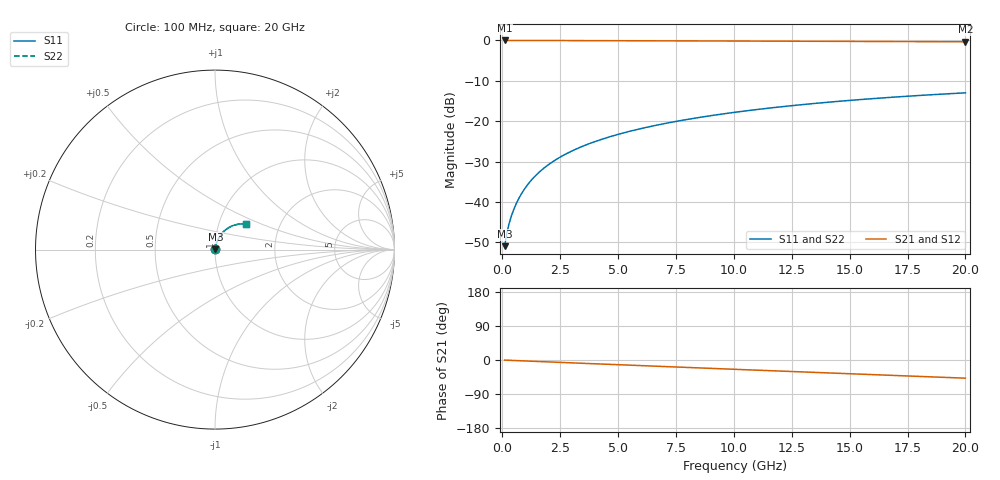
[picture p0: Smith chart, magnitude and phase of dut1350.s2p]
! Touchstone file exported from HFSS 2026.1.0
!  File:  C:/ffzhzh/LocalFiles/Ansys_Project_Files/temp_train_TMRDL_1350_1783165507_18472.aedt
!  Generated:  07:46:23 PM Jul  4, 2026
!  Design:  TMRDL
!  Project:  temp_train_TMRDL_1350_1783165507_18472
! Variables:
!  h_bsmrdl = 2um
!  h_ox = 20um
!  h_rdl = 5um
!  h_sub = 80um
!  h_tmrdl = 5.27um
!  h_tsv = 80um
!  h_via = 3um
!  l_bsmrdl = 300um
!  l_sub = 1212.63um
!  l_tmrdl = 812.63um
!  m_sub = 200um
!  pitch = 43.34um
!  r_tsv = 6um
!  s_tmrdl = 10um
!  w_bsmrdl = 18um
!  w_sub = 500um
!  w_tmrdl = 29.28um
!  x_tsv_center1 = 827.27um
!  x_tsv_center2 = 1145.27um
!  x_tsv_center3 = 1987.18um
!  x_tsv_center4 = 2305.18um
!  x_tsv_center5 = 3147.09um
!  x_tsv_center6 = 3465.09um
# GHz S MA R 50.000000
! Terminal data exported
! Port[1] = TM_RDL1_1_T1
! Port[2] = TM_RDL1_1_T2
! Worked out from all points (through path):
!   200 points, 100 MHz to 20 GHz, reference 50 ohm
!   highest |S21| = -0.02 dB at 100 MHz (marker M1); lowest = -0.3 dB at 20 GHz (marker M2)
!   group delay of S21, straight-line fit = 6.64 ps
!   lowest |S11| = -50.9 dB at 100 MHz (marker M3), VSWR 1.01, Z = 50.2 + j0.183 ohm
!   |S11| at or under -10 dB: start of sweep to end of sweep
!   |S22| runs from -50.9 to -13.0 dB; largest |S21 - S12| = 2e-14
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0.1  0.002842 39.9  0.9978 -0.3  0.9978 -0.3  0.002842 39.9
! Gamma 0 0 0 0
! Port Impedance 50 0 50 0
0.2  0.004188 53.5  0.9975 -0.5  0.9975 -0.5  0.004188 53.5
0.3  0.0055 60.4  0.9973 -0.8  0.9973 -0.8  0.0055 60.4
0.4  0.006811 64.9  0.9972 -1.0  0.9972 -1.0  0.006811 64.9
0.5  0.008144 68.1  0.9971 -1.3  0.9971 -1.3  0.008145 68.1
0.6  0.009501 70.5  0.9971 -1.5  0.9971 -1.5  0.009501 70.5
0.8  0.01226 73.5  0.9969 -2.0  0.9969 -2.0  0.01226 73.5
1.1  0.01647 75.8  0.9966 -2.8  0.9966 -2.8  0.01647 75.8
1.3  0.01929 76.6  0.9965 -3.3  0.9965 -3.3  0.01929 76.5
1.6  0.0235 77.0  0.9961 -4.1  0.9961 -4.1  0.0235 77.0
2.1  0.03047 77.0  0.9955 -5.3  0.9955 -5.3  0.03047 77.0
2.7  0.03868 76.2  0.9946 -6.8  0.9946 -6.8  0.03868 76.2
3.5  0.04936 74.8  0.9933 -8.8  0.9933 -8.8  0.04936 74.8
4.2  0.05849 73.5  0.9921 -10.5  0.9921 -10.5  0.05849 73.4
5  0.06869 71.8  0.9908 -12.4  0.9908 -12.4  0.06869 71.8
5.9  0.07993 69.9  0.9892 -14.6  0.9892 -14.6  0.07993 69.9
6.8  0.09095 68.0  0.9876 -16.8  0.9876 -16.8  0.09095 68.0
8.3  0.1088 64.8  0.985 -20.4  0.985 -20.4  0.1088 64.8
10.1  0.1295 60.9  0.9816 -24.7  0.9816 -24.7  0.1295 60.9
13.4  0.165 53.6  0.975 -32.6  0.975 -32.6  0.1649 53.6
16.7  0.1967 46.3  0.9681 -40.3  0.9681 -40.3  0.1967 46.2
20  0.2243 39.0  0.9614 -47.9  0.9614 -47.9  0.2243 38.9
